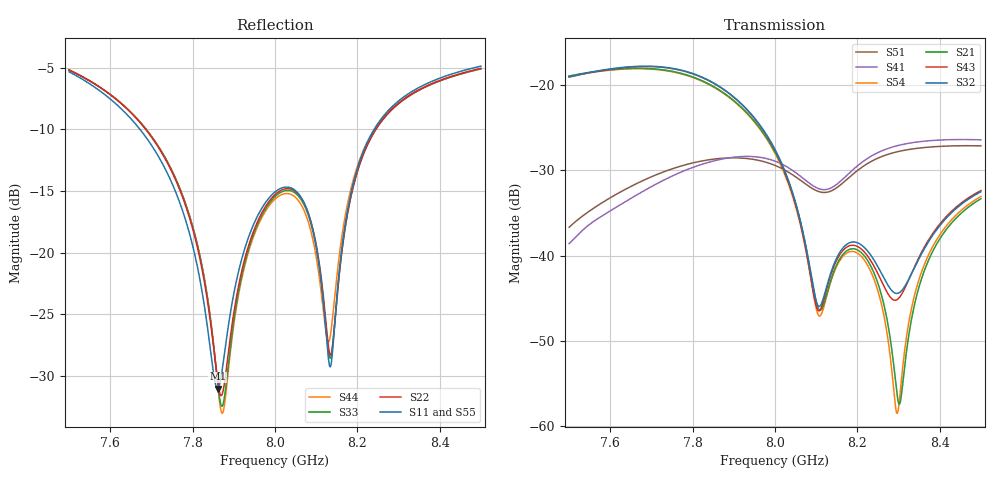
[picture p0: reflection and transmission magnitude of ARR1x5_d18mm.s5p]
! Touchstone file exported from HFSS 2025.1.0
!  File:  C:/Users/user/Documents/Ansoft/TFG_UWB-MIMO-Array.aedt
!  Generated:  08:09:01 PM Nov 16, 2026
!  Design:  ARR1x5_US3_PS4_2_1_dparam
!  Project:  TFG_UWB-MIMO-Array
!  Setup:  Setup_ch9
!  Solution:  Sweep_7p5_8p5
! Variables:
!  arr_d = 18mm
!  board_m = 13mm
!  board_x = 98mm
!  board_y = 26mm
!  cu_t = 0.035mm
!  line_w = 3.92mm
!  pad_xy = 22mm
!  pad_zn = 25mm
!  pad_zp = 33mm
!  par_L = 7.46mm
!  par_W = 10mm
!  par_yc = 0.75mm
!  par_z = 1.035mm
!  patch_L = 6.222mm
!  patch_W = 11.421266mm
!  sub_h = 2.07mm
!  tr_l = 6.6mm
!  tr_w = 0.8mm
!  u_Lu = 2.65mm
!  u_Wu = 4.4mm
!  u_t = 0.8mm
!  u_y0 = -0.7mm
# GHz S MA R 50.000000
! Terminal data exported
! Port[1] = P1
! Port[2] = P2
! Port[3] = P3
! Port[4] = P4
! Port[5] = P5
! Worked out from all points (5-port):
!   1001 points, 7.5 GHz to 8.5 GHz, reference 50 ohm
!   strongest paths, dB at 7.5 GHz, 7.75 GHz, 8 GHz, 8.25 GHz, 8.5 GHz:
!     S32: -19.0, -18.0, -27.5, -41.3, -32.5
!     S43: -19.0, -18.1, -27.6, -42.1, -32.4
!     S21: -18.9, -18.4, -27.8, -43.2, -33.3
!     S54: -19.0, -18.4, -28.0, -44.1, -33.0
!     S41: -38.6, -30.7, -28.9, -27.9, -26.4
!     S51: -36.7, -29.8, -29.4, -28.5, -27.1
!   lowest |S11| = -31.0 dB at 7.861 GHz (marker M1), VSWR 1.06, Z = 47.6 + j1.38 ohm
!   |S11| at or under -10 dB: 7.672 GHz to 8.241 GHz (568.4 MHz wide, 7.14 % of centre)
